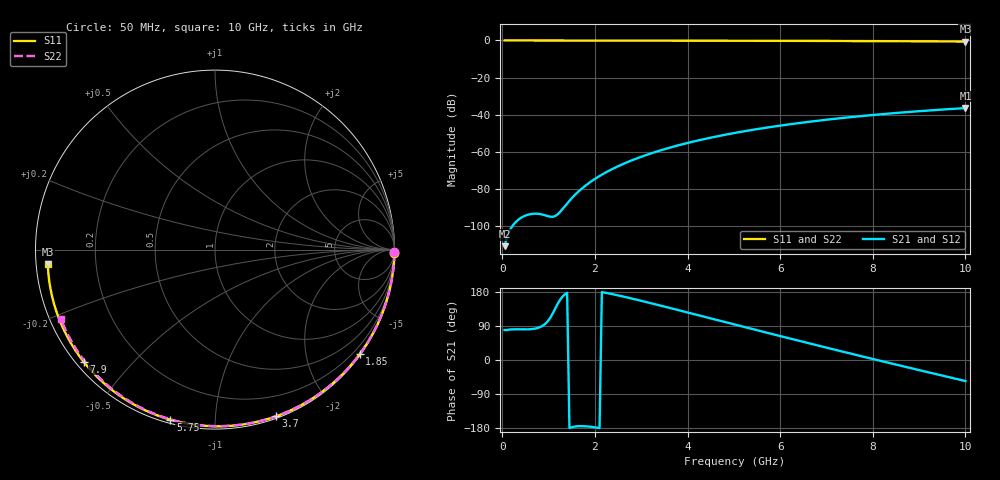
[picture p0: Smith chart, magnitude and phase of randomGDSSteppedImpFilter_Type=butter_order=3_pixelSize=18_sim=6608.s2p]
! freq	dB(S11)	phase(S11)	dB(S12)	phase(S12)
!  dB(S21)	phase(S21)	dB(S22)	phase(S22)
!S-par simulation data
#  GHz  S  DB  R 50
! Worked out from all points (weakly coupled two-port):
!   200 points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, 50 MHz to 10 GHz, reference 50 ohm
!   highest |S21| = -36.40 dB at 10 GHz (marker M1); lowest = -110.7 dB at 50 MHz (marker M2)
!   lowest |S11| = -0.6 dB at 10 GHz (marker M3), VSWR 29.80, Z = 1.68 - j2.17 ohm
!   |S11| at or under -10 dB: nowhere
!   |S22| runs from -0.5 to 0.0 dB; largest |S21 - S12| = 0
!   S11 on the Smith chart (normalised r, x): 50 MHz: open; 1.85 GHz: 0.03, -3.08; 3.7 GHz: 0.02, -1.43; 5.75 GHz: 0.02, -0.77; 7.9 GHz: 0.02, -0.37; 10 GHz: 0.03, -0.04
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0.05  -0.00 -1.0  -110.71 79.2  -110.71 79.2  -0.00 -0.9
0.45  -0.01 -8.9  -94.80 80.8  -94.80 80.8  -0.01 -8.1
0.85  -0.02 -16.7  -93.60 88.8  -93.60 88.8  -0.02 -15.3
1.25  -0.03 -24.5  -92.22 159.3  -92.22 159.3  -0.03 -22.3
1.7  -0.04 -33.1  -80.07 -174.5  -80.07 -174.5  -0.04 -30.2
1.75  -0.04 -34.0  -79.03 -174.6  -79.03 -174.6  -0.04 -31.1
1.85  -0.05 -35.9  -77.10 -175.4  -77.10 -175.4  -0.04 -32.8
2.15  -0.05 -41.6  -72.21 179.3  -72.21 179.3  -0.05 -38.0
2.5  -0.06 -48.1  -67.70 170.6  -67.70 170.6  -0.06 -44.0
2.9  -0.07 -55.5  -63.52 159.2  -63.52 159.2  -0.07 -50.7
3.4  -0.09 -64.5  -59.28 144.1  -59.28 144.1  -0.08 -59.0
3.7  -0.09 -69.9  -57.11 134.8  -57.11 134.8  -0.09 -63.8
4.35  -0.12 -81.2  -53.13 114.5  -53.13 114.5  -0.11 -74.2
5.05  -0.14 -93.1  -49.64 92.6  -49.64 92.6  -0.13 -85.0
5.75  -0.18 -104.7  -46.75 70.9  -46.75 70.9  -0.16 -95.5
6.2  -0.20 -112.1  -45.14 57.0  -45.14 57.0  -0.18 -102.1
6.7  -0.24 -120.2  -43.54 41.7  -43.54 41.7  -0.21 -109.4
7.3  -0.28 -129.9  -41.84 23.5  -41.84 23.5  -0.25 -117.9
7.9  -0.33 -139.6  -40.35 5.6  -40.35 5.6  -0.30 -126.3
8.35  -0.38 -146.9  -39.35 -7.7  -39.35 -7.7  -0.34 -132.6
9.2  -0.48 -161.1  -37.71 -32.5  -37.71 -32.5  -0.43 -144.5
10  -0.58 -175.0  -36.40 -55.5  -36.40 -55.5  -0.52 -155.8
